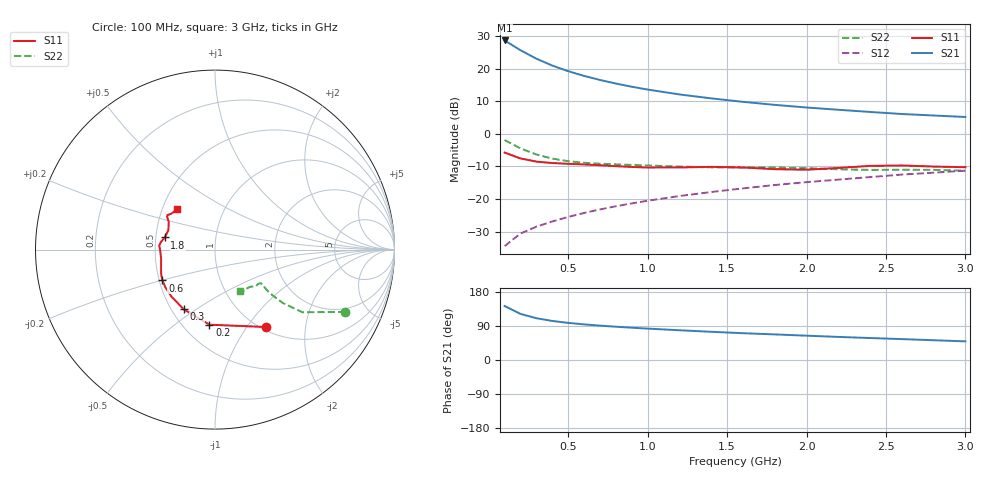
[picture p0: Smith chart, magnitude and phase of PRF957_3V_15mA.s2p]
! Philips part #:  PRF957  Date:  Nov 1998
! Bias condition:  Vce=3V, Ic=15mA
#  MHz  S  MA  R 50
! Freq  S11  S21  S12  S22
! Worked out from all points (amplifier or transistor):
!   20 points, 100 MHz to 3 GHz, reference 50 ohm
!   highest |S21| = 28.7 dB at 100 MHz (marker M1)
!   |S21| within 3 dB of that: start of sweep to 200.1 MHz
!   unconditionally stable (mu >= 1): 863.3 MHz to end of sweep
!   at 400 MHz: K = 0.82, MSG = 23.9 dB, |S12| = -26.9 dB
!   at 1.2 GHz: K = 1.04, MAG = 14.4 dB, |S12| = -19.1 dB
!   at 3 GHz: K = 1.04, MAG = 7.1 dB, |S12| = -11.3 dB
!   S11 on the Smith chart (normalised r, x): 100 MHz: 1.05, -1.24; 200 MHz: 0.67, -0.68; 300 MHz: 0.58, -0.45; 600 MHz: 0.52, -0.20; 1.8 GHz: 0.56, +0.08; 3 GHz: 0.60, +0.30
100  0.517 -56.6  27.12 142.5  0.01893 69.2  0.8044 -25.6
200  0.4195 -94.2  19.2 121.7  0.0296 63.6  0.5991 -35.6
300  0.3753 -117.7  14.24 110.2  0.03768 63.9  0.4824 -38.2
400  0.3571 -132.7  11.17 103.0  0.04535 65.8  0.4177 -38.5
500  0.3475 -142.6  9.16 97.9  0.05319 67.7  0.3813 -38.2
600  0.3396 -149.6  7.755 94.0  0.06118 69.3  0.3604 -37.8
700  0.3302 -155.1  6.718 90.7  0.06933 70.5  0.3483 -37.4
800  0.3199 -160.1  5.924 87.8  0.07747 71.6  0.3405 -36.8
900  0.3107 -165.1  5.29 85.2  0.0857 72.5  0.3338 -36.3
1000  0.3047 -170.1  4.786 82.8  0.09414 73.0  0.3275 -36.0
1200  0.3053 -178.8  4.03 78.5  0.1112 73.7  0.3148 -36.5
1400  0.3118 175.8  3.508 74.4  0.1283 73.9  0.3068 -38.7
1600  0.305 172.2  3.101 70.7  0.1459 73.9  0.306 -41.0
1800  0.2875 166.4  2.788 67.5  0.1642 73.6  0.3052 -42.4
2000  0.2817 157.2  2.539 64.2  0.1816 73.3  0.2977 -43.6
2200  0.3002 149.2  2.345 60.9  0.1989 72.9  0.286 -46.4
2400  0.3227 145.6  2.17 58.0  0.2173 72.1  0.28 -50.5
2600  0.3278 144.1  2.019 55.2  0.2375 71.2  0.2813 -54.2
2800  0.3151 140.7  1.914 52.2  0.2541 70.7  0.2804 -56.4
3000  0.3081 133.4  1.817 49.2  0.2723 70.2  0.2718 -58.7
